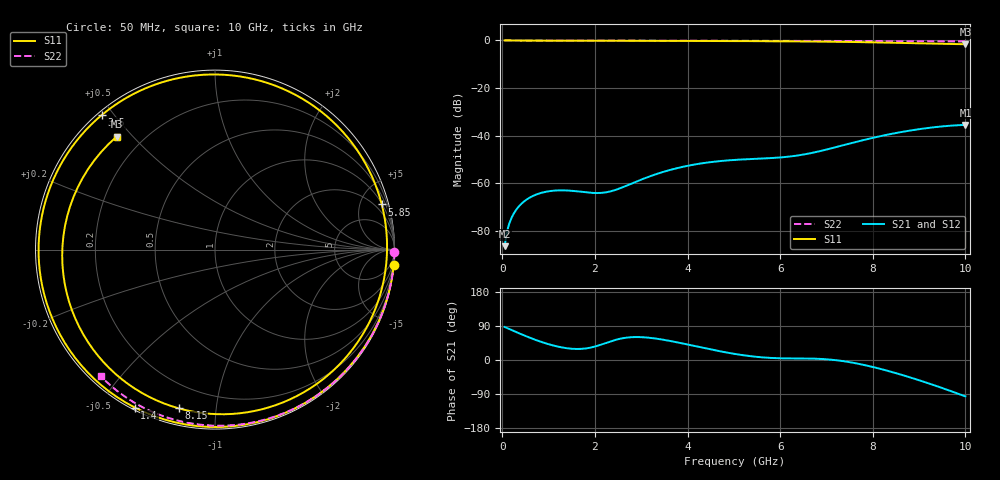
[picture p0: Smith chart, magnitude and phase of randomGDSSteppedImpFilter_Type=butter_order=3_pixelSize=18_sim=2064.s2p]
! freq	dB(S11)	phase(S11)	dB(S12)	phase(S12)
!  dB(S21)	phase(S21)	dB(S22)	phase(S22)
!S-par simulation data
#  GHz  S  DB  R 50
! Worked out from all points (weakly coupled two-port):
!   200 points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, 50 MHz to 10 GHz, reference 50 ohm
!   highest |S21| = -35.48 dB at 10 GHz (marker M1); lowest = -86.4 dB at 50 MHz (marker M2)
!   lowest |S11| = -1.6 dB at 10 GHz (marker M3), VSWR 11.09, Z = 5.43 + j22.5 ohm
!   |S11| at or under -10 dB: nowhere
!   |S22| runs from -0.4 to 0.0 dB; largest |S21 - S12| = 0
!   S11 on the Smith chart (normalised r, x): 50 MHz: 0, -24; 1.4 GHz: 0.01, -0.61; 3.5 GHz: 0.01, +0.47; 5.85 GHz: 1.08, +7.36; 8.15 GHz: 0.08, -0.79; 10 GHz: 0.11, +0.45
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0.05  -0.00 -4.8  -86.40 87.3  -86.40 87.3  -0.00 -0.8
0.1  -0.01 -9.6  -80.41 84.5  -80.41 84.5  -0.00 -1.5
0.2  -0.03 -19.1  -74.48 79.1  -74.48 79.1  -0.00 -3.1
0.35  -0.05 -33.0  -69.88 71.1  -69.88 71.1  -0.01 -5.3
0.7  -0.08 -63.9  -64.97 53.9  -64.97 53.9  -0.01 -10.7
1.05  -0.10 -92.0  -63.21 40.0  -63.21 40.0  -0.02 -15.9
1.4  -0.12 -116.9  -63.01 31.0  -63.01 31.0  -0.03 -21.2
1.75  -0.13 -139.3  -63.66 29.8  -63.66 29.8  -0.03 -26.4
2.5  -0.15 179.1  -62.40 54.9  -62.40 54.9  -0.05 -37.4
3.4  -0.17 134.7  -55.66 55.0  -55.66 55.0  -0.07 -50.2
3.5  -0.18 129.9  -55.07 53.0  -55.07 53.0  -0.07 -51.6
4.3  -0.21 91.6  -51.63 33.1  -51.63 33.1  -0.09 -62.7
5.05  -0.26 55.0  -50.13 15.4  -50.13 15.4  -0.11 -72.7
5.85  -0.33 15.2  -49.35 5.2  -49.35 5.2  -0.14 -83.0
6.7  -0.45 -27.7  -47.18 3.7  -47.18 3.7  -0.18 -93.6
7.45  -0.61 -65.8  -43.56 -4.7  -43.56 -4.7  -0.22 -102.7
8.15  -0.85 -103.0  -40.26 -23.0  -40.26 -23.0  -0.27 -111.0
8.35  -0.93 -114.1  -39.44 -29.5  -39.44 -29.5  -0.29 -113.3
8.85  -1.16 -144.0  -37.70 -47.6  -37.70 -47.6  -0.33 -119.1
9.25  -1.35 -170.7  -36.62 -63.4  -36.62 -63.4  -0.37 -123.6
9.65  -1.50 159.6  -35.84 -80.5  -35.84 -80.5  -0.41 -128.2
10  -1.57 131.1  -35.48 -96.0  -35.48 -96.0  -0.45 -132.2
